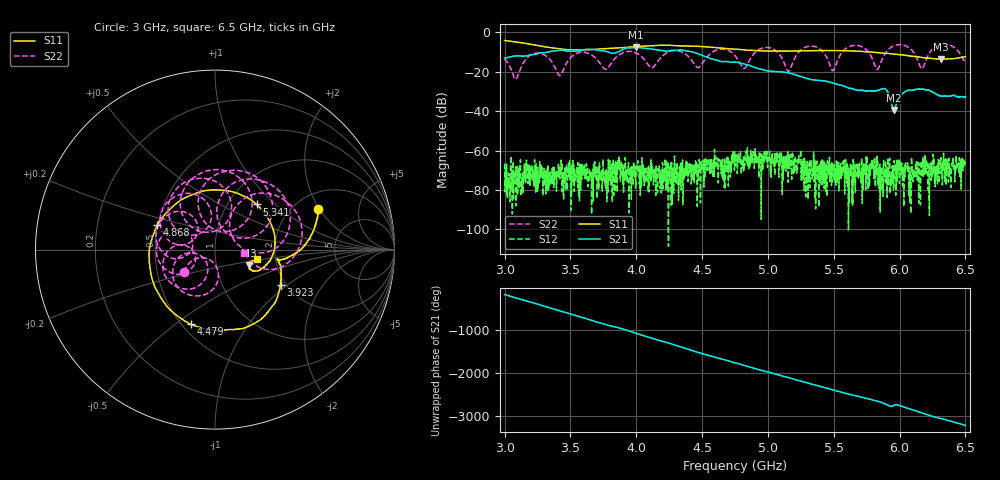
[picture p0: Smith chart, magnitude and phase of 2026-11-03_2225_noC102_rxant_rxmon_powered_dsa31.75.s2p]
! HEWLETT PACKARD,8720ES,MY41003347,7.72, via bringup/vna_tests.py
! noC102_rxant_rxmon_powered_dsa31.75
! measured 2026-11-03 22:25:58, 1601 points, 3000000000-6500000000 Hz, IF bandwidth 1000 Hz, source -40.00 dBm, kit CALK35MD
! board A, DSA 31.75 dB (set before each sweep)
! board A, CTRL bits {'tx_dis': 1} set before each sweep
# HZ S RI R 50
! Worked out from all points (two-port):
!   1601 points, 3 GHz to 6.5 GHz, reference 50 ohm
!   highest |S21| = -7.72 dB at 3.998 GHz (marker M1); lowest = -39.5 dB at 5.955 GHz (marker M2)
!   |S21| within 3 dB of the highest: 3.257 GHz to 3.821 GHz (563.6 MHz wide, 15.9 % of centre); 3.829 GHz to 4.462 GHz (632.6 MHz wide, 15.3 % of centre)
!   lowest |S11| = -13.7 dB at 6.312 GHz (marker M3), VSWR 1.52, Z = 71.7 - j13.1 ohm
!   |S11| at or under -10 dB: 5.76826 GHz to 5.77063 GHz (2.37 MHz wide, 0.0411 % of centre); 5.773 GHz to end of sweep
!   |S22| runs from -23.9 to -6.0 dB; largest |S21 - S12| = 0.41
!   S11 on the Smith chart (normalised r, x): 3 GHz: 2.68, +1.96; 3.923 GHz: 1.88, -0.88; 4.479 GHz: 0.55, -0.57; 4.868 GHz: 0.50, +0.15; 5.341 GHz: 1.35, +0.77; 6.5 GHz: 1.60, -0.18
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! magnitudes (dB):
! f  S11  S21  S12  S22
! 3 GHz  -4.2  -13.2  -66.6  -13.5
! 3.42 GHz  -8.4  -9.1  -74.4  -22.0
! 3.584 GHz  -9.0  -9.2  -73.4  -10.1
! 3.768 GHz  -8.3  -9.7  -71.4  -18.8
! 3.923 GHz  -7.7  -8.0  -74.8  -9.9
! 3.998 GHz  -7.3  -7.7  -68.1  -10.5
! 4.168 GHz  -6.6  -9.1  -71.7  -14.3
! 4.479 GHz  -7.2  -11.2  -64.6  -17.7
! 4.75 GHz  -8.6  -15.1  -67.9  -11.8
! 4.868 GHz  -9.1  -17.0  -63.2  -13.3
! 5.023 GHz  -9.6  -19.8  -70.7  -8.0
! 5.157 GHz  -9.5  -20.7  -62.9  -19.9
! 5.334 GHz  -9.3  -24.1  -67.3  -7.0
! 5.341 GHz  -9.3  -24.1  -70.8  -7.1
! 5.494 GHz  -9.3  -25.7  -68.5  -19.5
! 5.625 GHz  -9.4  -28.5  -73.2  -7.1
! 5.831 GHz  -10.3  -29.5  -70.7  -18.9
! 5.918 GHz  -10.8  -31.5  -71.5  -8.5
! 5.955 GHz  -11.1  -39.5  -78.3  -6.9
! 6.17 GHz  -12.8  -28.9  -73.4  -18.5
! 6.312 GHz  -13.7  -32.5  -66.3  -6.2
! 6.5 GHz  -12.4  -32.8  -65.9  -15.6
